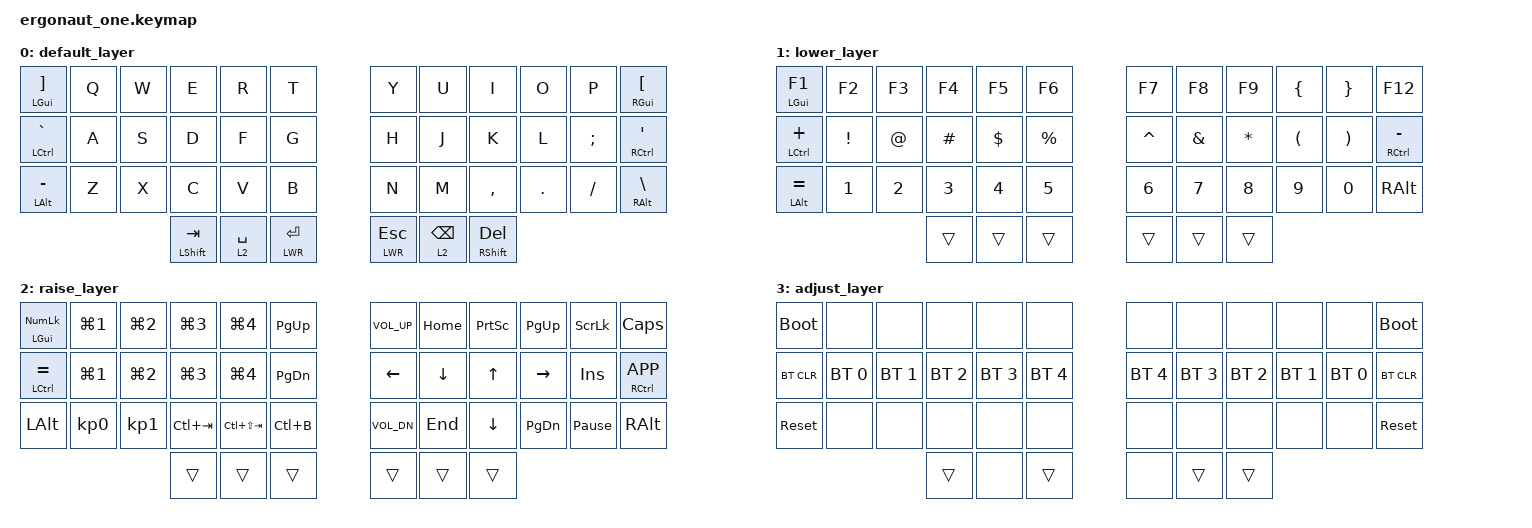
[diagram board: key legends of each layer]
#include <behaviors.dtsi>
#include <dt-bindings/zmk/bt.h>
#include <dt-bindings/zmk/keys.h>

#define DEF 0
#define LWR 1
#define RSE 2
#define ADJ 3

&lt { quick-tap-ms = <200>; };

&mt { quick-tap-ms = <200>; };

/ {
    conditional_layers {
        compatible = "zmk,conditional-layers";

        tri-layer {
            if-layers = <1 2>;
            then-layer = <3>;
        };
    };

    keymap {
        compatible = "zmk,keymap";

        default_layer {
            bindings = <
&mt LGUI RBKT    &kp Q  &kp W  &kp E               &kp R        &kp T        &kp Y        &kp U       &kp I                &kp O    &kp P     &mt RIGHT_GUI LEFT_BRACKET
&mt LCTRL GRAVE  &kp A  &kp S  &kp D               &kp F        &kp G        &kp H        &kp J       &kp K                &kp L    &kp SEMI  &mt RCTRL SQT
&mt LALT MINUS   &kp Z  &kp X  &kp C               &kp V        &kp B        &kp N        &kp M       &kp COMMA            &kp DOT  &kp FSLH  &mt RALT BSLH
                               &mt LEFT_SHIFT TAB  &lt 2 SPACE  &lt LWR RET  &lt LWR ESC  &lt 2 BSPC  &mt RIGHT_SHIFT DEL
            >;
        };

        lower_layer {
            bindings = <
&mt LGUI F1     &kp F2    &kp F3  &kp F4    &kp F5    &kp F6     &kp F7     &kp F8    &kp F9    &kp LEFT_BRACE  &kp RIGHT_BRACE  &kp F12
&mt LCTRL PLUS  &kp EXCL  &kp AT  &kp HASH  &kp DLLR  &kp PRCNT  &kp CARET  &kp AMPS  &kp STAR  &kp LPAR        &kp RPAR         &mt RCTRL MINUS
&mt LALT EQUAL  &kp N1    &kp N2  &kp N3    &kp N4    &kp N5     &kp N6     &kp N7    &kp N8    &kp N9          &kp N0           &kp RALT
                                  &trans    &trans    &trans     &trans     &trans    &trans
            >;
        };

        raise_layer {
            bindings = <
&mt LGUI KP_NUM  &kp LG(NUMBER_1)  &kp LG(NUMBER_2)  &kp LG(NUMBER_3)  &kp LG(NUMBER_4)  &kp PAGE_UP    &kp C_VOL_UP    &kp HOME  &kp PSCRN  &kp PG_UP  &kp SLCK         &kp CLCK
&mt LCTRL EQUAL  &kp LG(NUMBER_1)  &kp LG(NUMBER_2)  &kp LG(NUMBER_3)  &kp LG(NUMBER_4)  &kp PAGE_DOWN  &kp LEFT_ARROW  &kp DOWN  &kp UP     &kp RIGHT  &kp INS          &mt RCTRL K_APP
&kp LALT         &kp KP_N0         &kp KP_N1         &kp LC(TAB)       &kp LC(LS(TAB))   &kp LC(B)      &kp C_VOL_DN    &kp END   &kp DOWN   &kp PG_DN  &kp PAUSE_BREAK  &kp RALT
                                                     &trans            &trans            &trans         &trans          &trans    &trans
            >;
        };

        adjust_layer {
            bindings = <
&bootloader  &none         &none         &none         &none         &none         &none         &none         &none         &none         &none         &bootloader
&bt BT_CLR   &bt BT_SEL 0  &bt BT_SEL 1  &bt BT_SEL 2  &bt BT_SEL 3  &bt BT_SEL 4  &bt BT_SEL 4  &bt BT_SEL 3  &bt BT_SEL 2  &bt BT_SEL 1  &bt BT_SEL 0  &bt BT_CLR
&sys_reset   &none         &none         &none         &none         &none         &none         &none         &none         &none         &none         &sys_reset
                                         &trans        &none         &trans        &none         &trans        &trans
            >;
        };
    };
};
